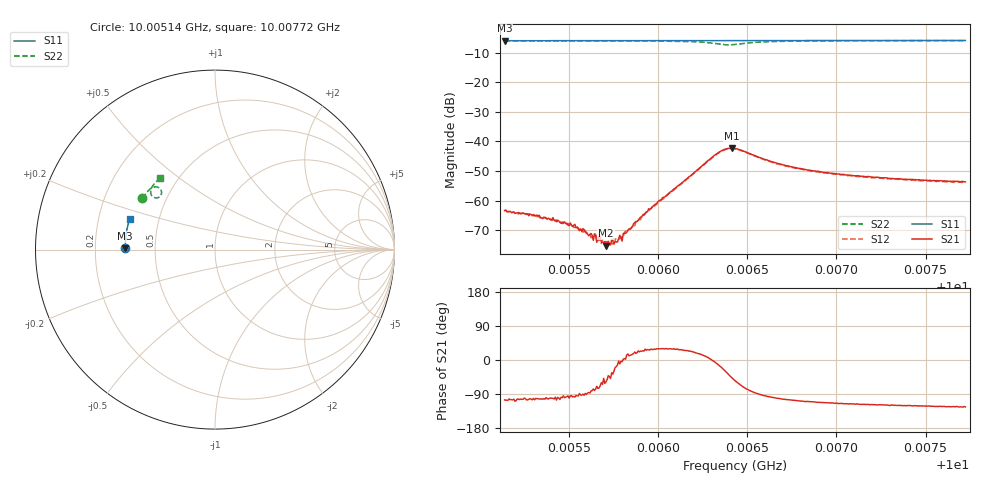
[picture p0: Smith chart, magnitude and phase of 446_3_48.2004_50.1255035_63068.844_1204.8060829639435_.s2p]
#  HZ  S  RI  R  50.00
! Rohde & Schwarz Vector Network Analyzer
! Rohde-Schwarz,ZNB20-2Port,1311601062101988,3.16
! Created: UTC 3/20/2024, 11:56:03 AM
! freq[Hz]  re:S11  im:S11  re:S21  im:S21  re:S12  im:S12  re:S22  im:S22
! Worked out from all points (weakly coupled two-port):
!   401 points, 10.00514 GHz to 10.00772 GHz, reference 50 ohm
!   highest |S21| = -42.27 dB at 10.00641 GHz (marker M1); lowest = -75.1 dB at 10.00571 GHz (marker M2)
!   lowest |S11| = -6.0 dB at 10.00514 GHz (marker M3), VSWR 3.00, Z = 16.7 + j0.278 ohm
!   |S11| at or under -10 dB: nowhere
!   |S22| runs from -7.4 to -6.0 dB; largest |S21 - S12| = 0.00049
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1.0005138e10  -0.5002 0.00625  -0.00018 -0.000658  -0.000142 -0.000665  -0.4044 0.2854
1.0005403e10  -0.5001 0.0235  -9.25e-05 -0.000474  -7.6e-05 -0.000459  -0.394 0.3012
1.0005519e10  -0.5001 0.0312  -4.79e-05 -0.000365  -4.31e-05 -0.000376  -0.3888 0.308
1.0005571e10  -0.4999 0.0344  -1.45e-05 -0.000303  1.38e-05 -0.000318  -0.3865 0.3112
1.0005616e10  -0.4998 0.0373  1.42e-05 -0.000271  4.14e-05 -0.00027  -0.3842 0.314
1.0005642e10  -0.4998 0.039  4.58e-05 -0.000268  6.44e-05 -0.000269  -0.3831 0.3156
1.0005668e10  -0.4997 0.0407  6.96e-05 -0.000241  9.1e-05 -0.00021  -0.3819 0.3171
1.0005694e10  -0.4995 0.0423  0.000133 -0.00015  8.2e-05 -0.000194  -0.3804 0.3188
1.0005707e10  -0.4995 0.0433  9.34e-05 -0.000148  0.000118 -0.000167  -0.3798 0.3196
1.0005732e10  -0.4994 0.0447  0.000119 -0.000136  0.000147 -0.000117  -0.3784 0.3211
1.0005758e10  -0.4993 0.0465  0.000198 -7.08e-05  0.000196 -0.000103  -0.3769 0.3228
1.0005791e10  -0.4992 0.0486  0.000238 -1.34e-05  0.000241 -2.13e-05  -0.375 0.3249
1.0005823e10  -0.499 0.0506  0.000284 6.64e-05  0.000318 5.66e-05  -0.3731 0.3269
1.0006004e10  -0.4981 0.0625  0.000865 0.000487  0.000839 0.000483  -0.3598 0.3389
1.0006321e10  -0.4952 0.0828  0.00595 -0.000668  0.00584 -0.000369  -0.301 0.3321
1.0006366e10  -0.4947 0.0855  0.00658 -0.00304  0.00658 -0.00265  -0.2985 0.3102
1.0006411e10  -0.4944 0.088  0.00533 -0.00556  0.00556 -0.00512  -0.3132 0.2914
1.0006431e10  -0.4943 0.0892  0.00443 -0.00619  0.00467 -0.00584  -0.3228 0.2884
1.0006663e10  -0.4924 0.1042  -0.000776 -0.00424  -0.000588 -0.00416  -0.3581 0.3294
1.0006864e10  -0.4901 0.117  -0.00111 -0.00303  -0.000982 -0.00299  -0.3493 0.3509
1.0007297e10  -0.4836 0.1442  -0.0012 -0.00206  -0.00105 -0.0021  -0.3272 0.3788
1.0007724e10  -0.4756 0.1706  -0.00115 -0.00173  -0.00105 -0.00176  -0.3054 0.3994
